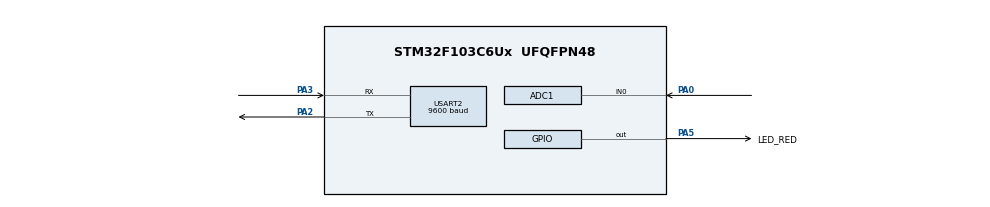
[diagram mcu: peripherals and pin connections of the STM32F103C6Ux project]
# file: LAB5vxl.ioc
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ADC1.Channel-0\#ChannelRegularConversion=ADC_CHANNEL_0
ADC1.ContinuousConvMode=ENABLE
ADC1.NbrOfConversionFlag=1
ADC1.Rank-0\#ChannelRegularConversion=1
ADC1.SamplingTime-0\#ChannelRegularConversion=ADC_SAMPLETIME_1CYCLE_5
ADC1.master=1
Mcu.Family=STM32F1
Mcu.Name=STM32F103C6Ux
Mcu.Package=UFQFPN48
NVIC.PriorityGroup=NVIC_PRIORITYGROUP_4
NVIC.USART2_IRQn=true\:0\:0\:false\:false\:true\:true\:true
PA0-WKUP.Signal=ADCx_IN0
PA2.Mode=Asynchronous
PA2.Signal=USART2_TX
PA3.Mode=Asynchronous
PA3.Signal=USART2_RX
PA5.GPIO_Label=LED_RED
PA5.Signal=GPIO_Output
ProjectManager.HeapSize=0x200
ProjectManager.StackSize=0x400
ProjectManager.TargetToolchain=STM32CubeIDE
RCC.APB1Freq_Value=8000000
RCC.APB2Freq_Value=8000000
SH.ADCx_IN0.0=ADC1_IN0,IN0
USART2.BaudRate=9600
USART2.VirtualMode=VM_ASYNC
VP_SYS_VS_ND.Mode=No_Debug
board=custom

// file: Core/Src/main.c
/* USER CODE BEGIN Header */
/**
  ******************************************************************************
  * @file           : main.c
  * @brief          : Main program body
  ******************************************************************************
  * @attention
  *
  * <h2><center>&copy; Copyright (c) 2025 STMicroelectronics.
  * All rights reserved.</center></h2>
  *
  * This software component is licensed by ST under BSD 3-Clause license,
  * the "License"; You may not use this file except in compliance with the
  * License. You may obtain a copy of the License at:
  *                        opensource.org/licenses/BSD-3-Clause
  *
  ******************************************************************************
  */
/* USER CODE END Header */
#include "main.h"
#include <string.h>
#include <stdio.h>

ADC_HandleTypeDef hadc1;

UART_HandleTypeDef huart2;

/* USER CODE BEGIN PV */
volatile uint8_t rx_temp = 0;

volatile uint8_t rx_buffer[RX_BUFFER_SIZE];
volatile uint16_t rx_head = 0;
volatile uint16_t rx_tail = 0;
volatile uint8_t rx_flag = 0;
volatile uint8_t at_line_start = 1;

/* Command parser */
char cmd_buffer[CMD_BUFFER_SIZE];
uint8_t cmd_len = 0;
volatile uint8_t command_available = 0;

/* ADC and packet storage */
uint32_t last_adc_value = 0;
char last_packet[PACKET_MAXLEN] = {0};

/* UART communication FSM */
typedef enum {
  COMM_IDLE = 0,
  COMM_SENT_WAIT_ACK,
} comm_state_t;

comm_state_t comm_state = COMM_IDLE;
uint32_t comm_timestamp = 0;
/* USER CODE END PV */

void SystemClock_Config(void);
static void MX_GPIO_Init(void);
static void MX_ADC1_Init(void);
static void MX_USART2_UART_Init(void);

/* USER CODE BEGIN 0 */

static void uart_send_crlf(void)
{
  const char crlf[] = "\r\n";
  HAL_UART_Transmit(&huart2, (uint8_t*)crlf, 2, 50);
}

void command_parser_fsm(void);
void uart_communication_fsm(void);
/* USER CODE END 0 */

int main(void)
{

  /* MCU Configuration--------------------------------------------------------*/

  /* Reset of all peripherals, Initializes the Flash interface and the Systick. */
  HAL_Init();

  /* Configure the system clock */
  SystemClock_Config();

  /* Initialize all configured peripherals */
  MX_GPIO_Init();
  MX_ADC1_Init();
  MX_USART2_UART_Init();
  /* USER CODE BEGIN 2 */
   if (HAL_ADC_Start(&hadc1) != HAL_OK) {
     Error_Handler();
   }

   if (HAL_UART_Receive_IT(&huart2, (uint8_t *)&rx_temp, 1) != HAL_OK) {
     Error_Handler();
   }
  /* USER CODE END 2 */

  /* Infinite loop */
  while (1)
  {
	    /* blink LED to show main loop alive (pa5) */
	    HAL_GPIO_TogglePin(LED_RED_GPIO_Port, LED_RED_Pin);
	    HAL_Delay(500);

	    if (rx_flag) {
	      rx_flag = 0;
	      command_parser_fsm();
	    }

	    uart_communication_fsm();
  }
}

void HAL_UART_RxCpltCallback(UART_HandleTypeDef *huart)
{
  if (huart->Instance == USART2)
  {
    uint16_t next_head = rx_head + 1;
    if (next_head >= RX_BUFFER_SIZE) next_head = 0;

    if (next_head != rx_tail) {
      rx_buffer[rx_head] = rx_temp;
      rx_head = next_head;
      rx_flag = 1;
    } else {
    }

    if (rx_temp == '\r' || rx_temp == '\n') {
      const char crlf[] = "\r\n";
      HAL_UART_Transmit(&huart2, (uint8_t*)crlf, 2, 10);
      at_line_start = 1;

    } else if (rx_temp == 0x08 || rx_temp == 127) {
      const char bs_seq[] = "\b \b";
      HAL_UART_Transmit(&huart2, (uint8_t*)bs_seq, 3, 10);
    } else {
      HAL_UART_Transmit(&huart2, (uint8_t *)&rx_temp, 1, 10);
      at_line_start = 0;
    }

    HAL_UART_Receive_IT(&huart2, (uint8_t *)&rx_temp, 1);
  }
}

void command_parser_fsm(void)
{
  while (rx_tail != rx_head)
  {
    uint8_t b = rx_buffer[rx_tail];
    rx_tail++;
    if (rx_tail >= RX_BUFFER_SIZE) rx_tail = 0;

    if (b == '!') {
      cmd_len = 0;
      if (cmd_len < (CMD_BUFFER_SIZE - 1)) {
        cmd_buffer[cmd_len++] = '!';
      }
    } else if (cmd_len > 0) {
      if (cmd_len < (CMD_BUFFER_SIZE - 1)) {
        cmd_buffer[cmd_len++] = (char)b;
      } else {
        cmd_len = 0;
      }

      if (b == '#') {
        cmd_buffer[cmd_len] = '\0';

        {
          const char crlf[] = "\r\n";
          HAL_UART_Transmit(&huart2, (uint8_t*)crlf, 2, 50);
          at_line_start = 1;
        }

        {
          char dbg[48];
          int n = snprintf(dbg, sizeof(dbg), "PARSER: got='%s'\r\n", cmd_buffer);
          HAL_UART_Transmit(&huart2, (uint8_t*)dbg, n, 100);
        }

        command_available = 1;
        cmd_len = 0;
      }
    } else {
    }
  }
}

static void transmit_last_packet(void)
{
  int len = (int)strlen(last_packet);
  if (len > 0) {
    HAL_UART_Transmit(&huart2, (uint8_t *)last_packet, len, 200);
    uart_send_crlf();
    at_line_start = 1; /* now we are at start of next line */

  }
}

static void send_adc_packet(void)
{
  int len = snprintf(last_packet, PACKET_MAXLEN, "!ADC=%lu#", (unsigned long)last_adc_value);
  if (len > 0 && len < PACKET_MAXLEN) {
    HAL_UART_Transmit(&huart2, (uint8_t *)last_packet, len, 200);
    uart_send_crlf();
    at_line_start = 1;
    comm_state = COMM_SENT_WAIT_ACK;
    comm_timestamp = HAL_GetTick();
  }
}

void uart_communication_fsm(void)
{
  if (command_available) {
    char local_cmd[CMD_BUFFER_SIZE];
    strncpy(local_cmd, cmd_buffer, CMD_BUFFER_SIZE);
    local_cmd[CMD_BUFFER_SIZE - 1] = '\0';
    command_available = 0;

    if (strcmp(local_cmd, "!RST#") == 0) {

      last_adc_value = HAL_ADC_GetValue(&hadc1);
      send_adc_packet();
    } else if (strcmp(local_cmd, "!OK#") == 0) {
      comm_state = COMM_IDLE;
    } else {
    }
  }

  if (comm_state == COMM_SENT_WAIT_ACK) {
    uint32_t now = HAL_GetTick();
    if ((now - comm_timestamp) >= ACK_TIMEOUT_MS) {
      transmit_last_packet();
      comm_timestamp = now;
    }
  }
}

void SystemClock_Config(void)
{
  RCC_OscInitTypeDef RCC_OscInitStruct = {0};
  RCC_ClkInitTypeDef RCC_ClkInitStruct = {0};
  RCC_PeriphCLKInitTypeDef PeriphClkInit = {0};

  /** Initializes the RCC Oscillators according to the specified parameters
  * in the RCC_OscInitTypeDef structure.
  */
  RCC_OscInitStruct.OscillatorType = RCC_OSCILLATORTYPE_HSI;
  RCC_OscInitStruct.HSIState = RCC_HSI_ON;
  RCC_OscInitStruct.HSICalibrationValue = RCC_HSICALIBRATION_DEFAULT;
  RCC_OscInitStruct.PLL.PLLState = RCC_PLL_NONE;
  if (HAL_RCC_OscConfig(&RCC_OscInitStruct) != HAL_OK)
  {
    Error_Handler();
  }
  /** Initializes the CPU, AHB and APB buses clocks
  */
  RCC_ClkInitStruct.ClockType = RCC_CLOCKTYPE_HCLK|RCC_CLOCKTYPE_SYSCLK
                              |RCC_CLOCKTYPE_PCLK1|RCC_CLOCKTYPE_PCLK2;
  RCC_ClkInitStruct.SYSCLKSource = RCC_SYSCLKSOURCE_HSI;
  RCC_ClkInitStruct.AHBCLKDivider = RCC_SYSCLK_DIV1;
  RCC_ClkInitStruct.APB1CLKDivider = RCC_HCLK_DIV1;
  RCC_ClkInitStruct.APB2CLKDivider = RCC_HCLK_DIV1;

  if (HAL_RCC_ClockConfig(&RCC_ClkInitStruct, FLASH_LATENCY_0) != HAL_OK)
  {
    Error_Handler();
  }
  PeriphClkInit.PeriphClockSelection = RCC_PERIPHCLK_ADC;
  PeriphClkInit.AdcClockSelection = RCC_ADCPCLK2_DIV2;
  if (HAL_RCCEx_PeriphCLKConfig(&PeriphClkInit) != HAL_OK)
  {
    Error_Handler();
  }
}

static void MX_ADC1_Init(void)
{

  ADC_ChannelConfTypeDef sConfig = {0};

  /** Common config
  */
  hadc1.Instance = ADC1;
  hadc1.Init.ScanConvMode = ADC_SCAN_DISABLE;
  hadc1.Init.ContinuousConvMode = ENABLE;
  hadc1.Init.DiscontinuousConvMode = DISABLE;
  hadc1.Init.ExternalTrigConv = ADC_SOFTWARE_START;
  hadc1.Init.DataAlign = ADC_DATAALIGN_RIGHT;
  hadc1.Init.NbrOfConversion = 1;
  if (HAL_ADC_Init(&hadc1) != HAL_OK)
  {
    Error_Handler();
  }
  /** Configure Regular Channel
  */
  sConfig.Channel = ADC_CHANNEL_0;
  sConfig.Rank = ADC_REGULAR_RANK_1;
  sConfig.SamplingTime = ADC_SAMPLETIME_1CYCLE_5;
  if (HAL_ADC_ConfigChannel(&hadc1, &sConfig) != HAL_OK)
  {
    Error_Handler();
  }

}

static void MX_USART2_UART_Init(void)
{

  huart2.Instance = USART2;
  huart2.Init.BaudRate = 9600;
  huart2.Init.WordLength = UART_WORDLENGTH_8B;
  huart2.Init.StopBits = UART_STOPBITS_1;
  huart2.Init.Parity = UART_PARITY_NONE;
  huart2.Init.Mode = UART_MODE_TX_RX;
  huart2.Init.HwFlowCtl = UART_HWCONTROL_NONE;
  huart2.Init.OverSampling = UART_OVERSAMPLING_16;
  if (HAL_UART_Init(&huart2) != HAL_OK)
  {
    Error_Handler();
  }

}

static void MX_GPIO_Init(void)
{
  GPIO_InitTypeDef GPIO_InitStruct = {0};

  /* GPIO Ports Clock Enable */
  __HAL_RCC_GPIOA_CLK_ENABLE();

  /*Configure GPIO pin Output Level */
  HAL_GPIO_WritePin(LED_RED_GPIO_Port, LED_RED_Pin, GPIO_PIN_RESET);

  /*Configure GPIO pin : LED_RED_Pin */
  GPIO_InitStruct.Pin = LED_RED_Pin;
  GPIO_InitStruct.Mode = GPIO_MODE_OUTPUT_PP;
  GPIO_InitStruct.Pull = GPIO_NOPULL;
  GPIO_InitStruct.Speed = GPIO_SPEED_FREQ_LOW;
  HAL_GPIO_Init(LED_RED_GPIO_Port, &GPIO_InitStruct);

}

void Error_Handler(void)
{
  __disable_irq();
  while (1)
  {
  }
}

/************************ (C) COPYRIGHT STMicroelectronics *****END OF FILE****/
